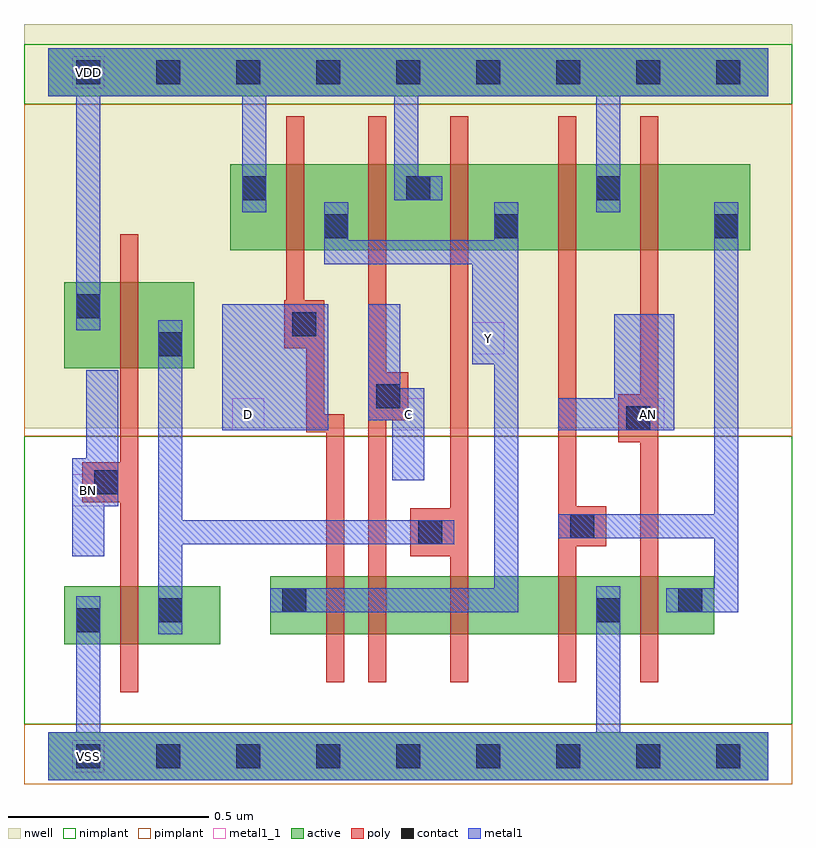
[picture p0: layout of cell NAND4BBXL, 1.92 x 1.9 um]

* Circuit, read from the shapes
.subckt NAND4BBXL AN BN C D VDD VSS Y
M1 n1 BN VSS VSS nfet w=0.145u l=0.045u
M2 n2 D Y VSS nfet w=0.145u l=0.045u
M3 n3 C n2 VSS nfet w=0.145u l=0.045u
M4 n4 n1 n3 VSS nfet w=0.145u l=0.045u
M5 VSS n5 n4 VSS nfet w=0.145u l=0.045u
M6 n5 AN VSS VSS nfet w=0.145u l=0.045u
M7 n1 BN VDD VDD pfet w=0.215u l=0.045u
M8 Y D VDD VDD pfet w=0.215u l=0.045u
M9 VDD C Y VDD pfet w=0.215u l=0.045u
M10 Y n1 VDD VDD pfet w=0.215u l=0.045u
M11 VDD n5 Y VDD pfet w=0.215u l=0.045u
M12 n5 AN VDD VDD pfet w=0.215u l=0.045u
.ends

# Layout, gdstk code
import gdstk
lib = gdstk.Library(unit=1e-6, precision=5e-10)
def R(c, l, rs):  # rectangles x0, y0, x1, y1
    for r in rs: c.add(gdstk.rectangle(r[:2], r[2:], *l))
def A(c, l, x, y, w, h, nx, ny, dx, dy):  # array of equal rectangles
    R(c, l, [(x+i*dx, y+j*dy, x+i*dx+w, y+j*dy+h) for i in range(nx) for j in range(ny)])
def P(c, l, *ps):  # polygons
    for p in ps: c.add(gdstk.Polygon(p, *l))
active = (1, 0)
nwell = (2, 0)
poly = (3, 0)
nimplant = (4, 0)
pimplant = (5, 0)
contact = (6, 0)
metal1 = (7, 0)
metal1_1 = (7, 1)

nand4bbxl = lib.new_cell('NAND4BBXL')
R(nand4bbxl, active, [(0,-0.06,1.8,0.06), (0.04,0.28,0.43,0.425), (0.555,0.305,1.665,0.45), (0.04,0.97,0.365,1.185), (0.455,1.265,1.755,1.48), (0,1.65,1.8,1.77)])
R(nand4bbxl, nwell, [(-0.06,0.82,1.86,1.83)])
P(nand4bbxl, poly, [(0.595,1.6),(0.64,1.6),(0.64,1.14),(0.69,1.14),(0.69,0.855),(0.74,0.855),(0.74,0.185),(0.695,0.185),(0.695,0.81),(0.645,0.81),(0.645,1.02),(0.59,1.02),(0.59,1.14),(0.595,1.14)],
  [(0.8,1.6),(0.845,1.6),(0.845,0.96),(0.9,0.96),(0.9,0.84),(0.845,0.84),(0.845,0.185),(0.8,0.185)],
  [(1.005,1.6),(1.05,1.6),(1.05,0.185),(1.005,0.185),(1.005,0.5),(0.905,0.5),(0.905,0.62),(1.005,0.62)],
  [(1.275,1.6),(1.32,1.6),(1.32,0.625),(1.395,0.625),(1.395,0.525),(1.32,0.525),(1.32,0.185),(1.275,0.185)],
  [(1.48,1.6),(1.525,1.6),(1.525,0.185),(1.48,0.185),(1.48,0.785),(1.425,0.785),(1.425,0.905),(1.48,0.905)],
  [(0.18,1.305),(0.225,1.305),(0.225,0.16),(0.18,0.16),(0.18,0.635),(0.085,0.635),(0.085,0.735),(0.18,0.735)])
R(nand4bbxl, nimplant, [(-0.06,0.08,1.86,0.8), (-0.06,1.63,1.86,1.78)])
R(nand4bbxl, pimplant, [(-0.06,-0.07,1.86,0.08), (-0.06,0.8,1.86,1.63)])
A(nand4bbxl, contact, 0.07, -0.03, 0.06, 0.06, 9, 2, 0.2, 1.71)
R(nand4bbxl, contact, [(0.07,0.31,0.13,0.37), (0.275,0.335,0.335,0.395), (1.37,0.335,1.43,0.395), (0.585,0.36,0.645,0.42), (1.575,0.36,1.635,0.42), (0.925,0.53,0.985,0.59), (1.305,0.545,1.365,0.605), (0.115,0.655,0.175,0.715), (1.445,0.815,1.505,0.875), (0.82,0.87,0.88,0.93), (0.275,1,0.335,1.06), (0.61,1.05,0.67,1.11), (0.07,1.095,0.13,1.155), (0.69,1.295,0.75,1.355), (1.115,1.295,1.175,1.355), (1.665,1.295,1.725,1.355), (0.485,1.39,0.545,1.45), (0.895,1.39,0.955,1.45), (1.37,1.39,1.43,1.45)])
R(nand4bbxl, metal1, [(0.435,0.815,0.7,1.13)])
P(nand4bbxl, metal1, [(1.415,1.105),(1.565,1.105),(1.565,0.815),(1.275,0.815),(1.275,0.895),(1.415,0.895)],
  [(0,1.77),(1.8,1.77),(1.8,1.65),(1.43,1.65),(1.43,1.36),(1.37,1.36),(1.37,1.65),(0.925,1.65),(0.925,1.45),(0.985,1.45),(0.985,1.39),(0.865,1.39),(0.865,1.65),(0.545,1.65),(0.545,1.36),(0.485,1.36),(0.485,1.65),(0.13,1.65),(0.13,1.065),(0.07,1.065),(0.07,1.65),(0,1.65)],
  [(0.69,1.385),(0.75,1.385),(0.75,1.29),(1.115,1.29),(1.115,1.385),(1.175,1.385),(1.175,0.36),(0.555,0.36),(0.555,0.42),(1.115,0.42),(1.115,0.98),(1.06,0.98),(1.06,1.23),(0.69,1.23)],
  [(1.665,1.385),(1.725,1.385),(1.725,0.36),(1.545,0.36),(1.545,0.42),(1.665,0.42),(1.665,0.545),(1.275,0.545),(1.275,0.605),(1.665,0.605)],
  [(0.8,1.13),(0.88,1.13),(0.88,0.92),(0.94,0.92),(0.94,0.69),(0.86,0.69),(0.86,0.84),(0.8,0.84)],
  [(0.275,1.09),(0.335,1.09),(0.335,0.59),(1.015,0.59),(1.015,0.53),(0.335,0.53),(0.335,0.305),(0.275,0.305)],
  [(0.095,0.965),(0.175,0.965),(0.175,0.625),(0.14,0.625),(0.14,0.5),(0.06,0.5),(0.06,0.745),(0.095,0.745)],
  [(0.07,0.4),(0.13,0.4),(0.13,0.06),(1.37,0.06),(1.37,0.425),(1.43,0.425),(1.43,0.06),(1.8,0.06),(1.8,-0.06),(0,-0.06),(0,0.06),(0.07,0.06)])
R(nand4bbxl, metal1_1, [(0.06,-0.04,0.14,0.04), (0.06,0.625,0.14,0.705), (0.46,0.815,0.54,0.895), (0.86,0.815,0.94,0.895), (1.46,0.815,1.54,0.895), (1.06,1.005,1.14,1.085), (0.06,1.67,0.14,1.75)])
nand4bbxl.add(gdstk.Label('Y', (1.1,1.045), layer=7, texttype=1))
nand4bbxl.add(gdstk.Label('D', (0.5,0.855), layer=7, texttype=1))
nand4bbxl.add(gdstk.Label('C', (0.9,0.855), layer=7, texttype=1))
nand4bbxl.add(gdstk.Label('AN', (1.5,0.855), layer=7, texttype=1))
nand4bbxl.add(gdstk.Label('BN', (0.1,0.665), layer=7, texttype=1))
nand4bbxl.add(gdstk.Label('VDD', (0.1,1.71), layer=7, texttype=1))
nand4bbxl.add(gdstk.Label('VSS', (0.1,0), layer=7, texttype=1))
nand4bbxl.add(gdstk.Label('NAND4BBXL', (0,0), layer=63, texttype=0))

lib.write_gds('NAND4BBXL.gds')
